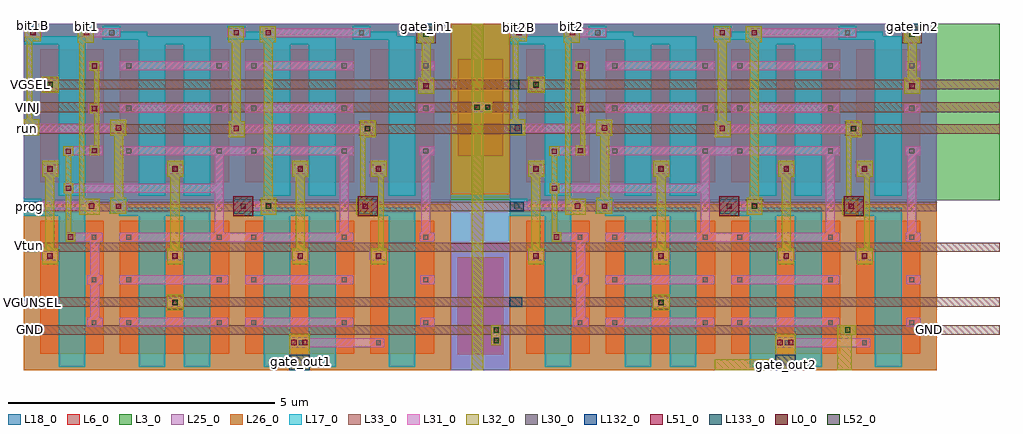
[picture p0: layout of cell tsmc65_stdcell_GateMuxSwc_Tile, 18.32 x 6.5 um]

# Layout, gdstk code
import gdstk
lib = gdstk.Library(unit=1e-6, precision=1e-09)
def R(c, l, rs):  # rectangles x0, y0, x1, y1
    for r in rs: c.add(gdstk.rectangle(r[:2], r[2:], *l))
def A(c, l, x, y, w, h, nx, ny, dx, dy):  # array of equal rectangles
    R(c, l, [(x+i*dx, y+j*dy, x+i*dx+w, y+j*dy+h) for i in range(nx) for j in range(ny)])
L0_0 = (0, 0)
L3_0 = (3, 0)
L6_0 = (6, 0)
L17_0 = (17, 0)
L18_0 = (18, 0)
L25_0 = (25, 0)
L26_0 = (26, 0)
L30_0 = (30, 0)
L31_0 = (31, 0)
L32_0 = (32, 0)
L33_0 = (33, 0)
L51_0 = (51, 0)
L52_0 = (52, 0)
L132_0 = (132, 0)
L133_0 = (133, 0)

m2_m1_cdns_668291677407 = lib.new_cell('M2_M1_CDNS_668291677407')
R(m2_m1_cdns_668291677407, L31_0, [(-0.09,-0.09,0.09,0.09)])
R(m2_m1_cdns_668291677407, L32_0, [(-0.09,-0.09,0.09,0.09)])
R(m2_m1_cdns_668291677407, L51_0, [(-0.05,-0.05,0.05,0.05)])

m2_m1_cdns_668291677401 = lib.new_cell('M2_M1_CDNS_668291677401')
R(m2_m1_cdns_668291677401, L31_0, [(-0.19,-0.09,0.19,0.09)])
R(m2_m1_cdns_668291677401, L32_0, [(-0.19,-0.09,0.19,0.09)])
R(m2_m1_cdns_668291677401, L51_0, [(-0.15,-0.05,-0.05,0.05), (0.05,-0.05,0.15,0.05)])

tsmc65_stdcell_gatemuxsw = lib.new_cell('tsmc65_stdcell_GateMuxSwc')
R(tsmc65_stdcell_gatemuxsw, L0_0, [(3.94,2.89,4.31,3.26), (6.28,2.89,6.65,3.26)])
R(tsmc65_stdcell_gatemuxsw, L3_0, [(0,3.19,8.02,6.5)])
R(tsmc65_stdcell_gatemuxsw, L6_0, [(0.31,0.31,1.51,2.8), (1.81,0.31,3.86,2.8), (4.16,0.31,6.21,2.8), (6.51,0.31,7.71,2.8), (0.31,3.53,1.51,6.02), (1.81,3.53,3.86,6.02), (4.16,3.53,6.21,6.02), (6.51,3.53,7.71,6.02)])
A(tsmc65_stdcell_gatemuxsw, L17_0, 1.62, 3.05, 0.33, 0.16, 3, 1, 2.34, 0)
R(tsmc65_stdcell_gatemuxsw, L17_0, [(0.66,0.06,1.16,2.9), (2.16,0.06,2.66,2.9), (3.01,0.06,3.51,2.9), (4.51,0.06,5.01,2.9), (5.36,0.06,5.86,2.9), (6.86,0.06,7.36,2.9), (0,2.9,1.16,2.95), (1.8,2.9,3.51,2.94), (4.15,2.9,5.86,2.94), (6.5,2.9,7.36,2.94), (1.62,2.94,3.51,3.05), (3.96,2.94,5.86,3.05), (6.3,2.94,7.36,3.05), (0,2.95,1.16,3.05), (0,3.05,0.33,3.22), (0.66,3.27,1.16,6.12), (2.16,3.27,2.66,6.12), (3.01,3.27,3.51,6.12), (4.51,3.27,5.01,6.12), (5.36,3.27,5.86,6.12), (6.86,3.27,7.36,6.12), (0.015,6.12,1.16,6.27), (2.16,6.12,3.51,6.2), (4.51,6.12,5.86,6.2), (6.86,6.12,7.36,6.2), (1.49,6.2,3.51,6.27), (3.83,6.2,5.86,6.27), (6.18,6.2,7.36,6.27), (0.015,6.27,0.345,6.47), (1.49,6.27,2.32,6.35), (3.83,6.27,4.66,6.35), (6.18,6.27,7.01,6.35), (1.49,6.35,1.82,6.47), (3.83,6.35,4.16,6.47), (6.18,6.35,6.51,6.47)])
R(tsmc65_stdcell_gatemuxsw, L18_0, [(0,0,8.02,6.5)])
R(tsmc65_stdcell_gatemuxsw, L25_0, [(0,3.11,8.02,6.5)])
R(tsmc65_stdcell_gatemuxsw, L26_0, [(0,0,8.02,3.11)])
A(tsmc65_stdcell_gatemuxsw, L30_0, 6.62, 0.47, 0.09, 0.09, 1, 3, 0, 1.63)
A(tsmc65_stdcell_gatemuxsw, L30_0, 1.28, 0.85, 0.09, 0.09, 1, 3, 0, 0.8)
A(tsmc65_stdcell_gatemuxsw, L30_0, 1.93, 0.85, 0.09, 0.09, 1, 3, 0, 0.8)
A(tsmc65_stdcell_gatemuxsw, L30_0, 3.63, 0.85, 0.09, 0.09, 1, 3, 0, 0.8)
A(tsmc65_stdcell_gatemuxsw, L30_0, 4.28, 0.85, 0.09, 0.09, 1, 3, 0, 0.8)
A(tsmc65_stdcell_gatemuxsw, L30_0, 5.98, 0.85, 0.09, 0.09, 1, 3, 0, 0.8)
A(tsmc65_stdcell_gatemuxsw, L30_0, 7.505, 0.85, 0.09, 0.09, 1, 3, 0, 0.8)
A(tsmc65_stdcell_gatemuxsw, L30_0, 0.45, 2.1, 0.09, 0.09, 3, 2, 2.35, 1.63)
A(tsmc65_stdcell_gatemuxsw, L30_0, 1.93, 4.07, 0.09, 0.09, 1, 3, 0, 0.8)
A(tsmc65_stdcell_gatemuxsw, L30_0, 3.63, 4.07, 0.09, 0.09, 1, 3, 0, 0.8)
A(tsmc65_stdcell_gatemuxsw, L30_0, 4.28, 4.07, 0.09, 0.09, 1, 3, 0, 0.8)
A(tsmc65_stdcell_gatemuxsw, L30_0, 5.98, 4.07, 0.09, 0.09, 1, 3, 0, 0.8)
A(tsmc65_stdcell_gatemuxsw, L30_0, 7.505, 4.07, 0.09, 0.09, 1, 3, 0, 0.8)
R(tsmc65_stdcell_gatemuxsw, L30_0, [(5.17,0.47,5.26,0.56), (2.8,1.23,2.89,1.32), (1.74,3.03,1.83,3.12), (4.08,3.03,4.17,3.12), (6.37,3.03,6.46,3.12), (0.09,3.04,0.18,3.13), (1.28,4.07,1.37,4.16), (1.28,4.87,1.37,4.96), (7.515,5.29,7.605,5.38), (0.45,5.31,0.54,5.4), (1.29,5.665,1.38,5.755), (0.135,6.29,0.225,6.38), (1.61,6.29,1.7,6.38), (3.95,6.29,4.04,6.38), (6.3,6.29,6.39,6.38)])
A(tsmc65_stdcell_gatemuxsw, L31_0, 0.33, 2.06, 0.33, 0.17, 3, 2, 2.35, 1.63)
R(tsmc65_stdcell_gatemuxsw, L31_0, [(4.99,0.43,6.77,0.6), (1.185,0.81,1.49,0.98), (1.81,0.81,3.84,0.98), (4.16,0.81,6.19,0.98), (7.445,0.81,7.715,0.98), (1.255,0.98,1.425,1.61), (2.68,1.19,3.01,1.36), (1.19,1.61,1.49,1.78), (1.81,1.61,3.84,1.78), (4.16,1.61,6.19,1.78), (7.445,1.61,7.715,1.78), (1.255,1.78,1.425,2.41), (6.5,2.06,6.83,2.23), (0.795,2.41,1.49,2.58), (1.81,2.41,6.19,2.58), (7.44,2.41,7.715,2.58), (3.59,2.58,3.76,3.33), (5.94,2.58,6.11,4.03), (7.465,2.58,7.635,4.03), (1.365,2.99,1.435,3), (1.62,2.99,1.95,3.16), (3.96,2.99,4.68,3.16), (6.3,2.99,6.63,3.16), (0,3,1.435,3.16), (1.365,3.16,1.435,3.17), (0.795,3.33,3.76,3.5), (3.59,3.5,3.76,4.03), (6.5,3.69,6.83,3.86), (0.79,4.03,1.49,4.2), (1.81,4.03,6.19,4.2), (7.43,4.03,7.715,4.2), (1.425,4.2,1.49,4.21), (3.91,4.45,6.555,4.62), (0,4.46,1.875,4.63), (1.22,4.82,1.245,4.83), (1.425,4.82,1.49,4.83), (1.22,4.83,1.49,5), (1.81,4.83,3.84,5), (4.16,4.83,6.19,5), (7.41,4.83,7.715,5), (7.395,5.25,7.725,5.42), (0.33,5.27,0.66,5.44), (1.21,5.62,1.49,5.63), (1.21,5.63,1.49,5.8), (1.81,5.63,3.84,5.8), (4.16,5.63,6.19,5.8), (7.44,5.63,7.725,5.8), (0.015,6.25,0.345,6.42), (1.09,6.25,1.82,6.42), (3.83,6.25,4.16,6.42), (4.51,6.25,6.51,6.42)])
A(tsmc65_stdcell_gatemuxsw, L32_0, 0.35, 1.99, 0.3, 0.3, 3, 2, 2.35, 1.64)
A(tsmc65_stdcell_gatemuxsw, L32_0, 0.41, 2.29, 0.17, 1.34, 3, 1, 2.35, 0)
R(tsmc65_stdcell_gatemuxsw, L32_0, [(4.99,0,5.37,0.68), (2.69,1.12,3.01,1.14), (2.7,1.12,3,1.14), (2.69,1.14,3.01,1.4), (2.69,1.4,3.01,1.42), (2.7,1.4,3,1.42), (6.52,1.99,6.82,2.29), (6.66,2.29,6.76,3.63), (0.795,2.58,0.895,3.33), (1.045,2.92,1.435,3.22), (4.45,2.92,4.75,2.93), (4.47,2.92,4.73,2.93), (6.25,2.92,6.55,3.22), (4.45,2.93,4.75,3.23), (1.63,2.94,1.93,3.24), (1.045,3.22,1.145,6.15), (6.32,3.22,6.42,4.37), (4.45,3.23,4.75,3.24), (4.47,3.23,4.73,3.24), (1.7,3.24,1.87,4.4), (4.51,3.24,4.68,6.16), (0.795,3.5,0.895,4.03), (6.52,3.63,6.82,3.93), (1.325,4.2,1.425,4.83), (3.85,4.37,4.15,4.67), (6.31,4.37,6.61,4.69), (1.63,4.4,1.93,4.7), (0,4.41,0.3,4.71), (3.91,4.67,4.08,6.16), (0.06,4.71,0.16,6.17), (1.325,5,1.425,5.63), (7.415,5.19,7.715,5.49), (0.34,5.21,0.35,5.23), (0.35,5.21,0.65,5.23), (0.65,5.21,0.66,5.23), (0.34,5.23,0.66,5.49), (0.34,5.49,0.66,5.51), (0.35,5.49,0.65,5.51), (7.475,5.49,7.645,6.15), (1.02,6.15,1.32,6.5), (7.405,6.15,7.705,6.17), (3.84,6.16,4.14,6.46), (4.44,6.16,4.74,6.46), (0.025,6.17,0.325,6.5), (7.405,6.17,7.705,6.5)])
R(tsmc65_stdcell_gatemuxsw, L33_0, [(2.69,1.14,3.01,1.19), (0,1.19,8.02,1.37), (2.69,1.36,3.01,1.4), (0,2.98,8.02,3.16), (4.44,3.14,4.76,3.21), (6.3,4.4,6.62,4.44), (0,4.44,8.02,4.62), (6.3,4.61,6.62,4.66), (0.34,5.23,0.66,5.27), (0,5.27,8.02,5.45), (0.34,5.44,0.66,5.49), (7.37,6.14,7.74,6.145), (7.37,6.145,7.74,6.425), (7.37,6.425,7.74,6.44)])
A(tsmc65_stdcell_gatemuxsw, L51_0, 0.445, 2.095, 0.1, 0.1, 3, 2, 2.35, 1.63)
R(tsmc65_stdcell_gatemuxsw, L51_0, [(2.795,1.225,2.895,1.325), (6.615,2.095,6.715,2.195), (1.735,3.025,1.835,3.125), (4.545,3.025,4.645,3.125), (6.365,3.025,6.465,3.125), (6.615,3.725,6.715,3.825), (3.945,4.485,4.045,4.585), (6.415,4.485,6.515,4.585), (0.095,4.495,0.195,4.595), (1.735,4.495,1.835,4.595), (7.51,5.285,7.61,5.385), (0.445,5.305,0.545,5.405), (0.13,6.285,0.23,6.385), (1.135,6.285,1.235,6.385), (3.945,6.285,4.045,6.385), (4.545,6.285,4.645,6.385)])
R(tsmc65_stdcell_gatemuxsw, L52_0, [(2.8,1.22,2.9,1.32), (4.55,3.03,4.65,3.13), (6.41,4.48,6.51,4.58), (0.45,5.31,0.55,5.41), (7.505,6.26,7.605,6.36)])
R(tsmc65_stdcell_gatemuxsw, L132_0, [(4.99,0,5.37,0.285), (1.02,6.38,1.32,6.5), (7.405,6.385,7.705,6.5), (0.025,6.395,0.325,6.5)])
R(tsmc65_stdcell_gatemuxsw, L133_0, [(0,1.19,0.24,1.37), (0,2.98,0.265,3.16), (0,4.44,0.23,4.62), (0,5.27,0.185,5.45)])
tsmc65_stdcell_gatemuxsw.add(gdstk.Reference(m2_m1_cdns_668291677407, (1.335,4.12)))
tsmc65_stdcell_gatemuxsw.add(gdstk.Reference(m2_m1_cdns_668291677407, (1.335,5.71)))
tsmc65_stdcell_gatemuxsw.add(gdstk.Reference(m2_m1_cdns_668291677407, (1.335,4.91)))
tsmc65_stdcell_gatemuxsw.add(gdstk.Reference(m2_m1_cdns_668291677407, (0.84,4.11)))
tsmc65_stdcell_gatemuxsw.add(gdstk.Reference(m2_m1_cdns_668291677407, (0.845,3.415)))
tsmc65_stdcell_gatemuxsw.add(gdstk.Reference(m2_m1_cdns_668291677407, (0.885,2.5)))
tsmc65_stdcell_gatemuxsw.add(gdstk.Reference(m2_m1_cdns_668291677407, (1.275,3.08)))
tsmc65_stdcell_gatemuxsw.add(gdstk.Reference(m2_m1_cdns_668291677401, (5.18,0.52)))
tsmc65_stdcell_gatemuxsw.add(gdstk.Label('Signal_IN', (7.57,6.45), layer=132, texttype=0))
tsmc65_stdcell_gatemuxsw.add(gdstk.Label('Control', (1.185,6.465), layer=132, texttype=0))
tsmc65_stdcell_gatemuxsw.add(gdstk.Label('ControlB', (0.185,6.455), layer=132, texttype=0))
tsmc65_stdcell_gatemuxsw.add(gdstk.Label('Signal_OUT', (5.205,0.165), layer=132, texttype=0))
tsmc65_stdcell_gatemuxsw.add(gdstk.Label('run', (0.08,4.545), layer=133, texttype=0))
tsmc65_stdcell_gatemuxsw.add(gdstk.Label('prog', (0.11,3.075), layer=133, texttype=0))
tsmc65_stdcell_gatemuxsw.add(gdstk.Label('VGSEL', (0.13,5.36), layer=133, texttype=0))
tsmc65_stdcell_gatemuxsw.add(gdstk.Label('VGUNSEL', (0.175,1.275), layer=133, texttype=0))

m3_m2_cdns_668291677400 = lib.new_cell('M3_M2_CDNS_668291677400')
R(m3_m2_cdns_668291677400, L32_0, [(-0.19,-0.09,0.19,0.09)])
R(m3_m2_cdns_668291677400, L33_0, [(-0.19,-0.09,0.19,0.09)])
R(m3_m2_cdns_668291677400, L52_0, [(-0.15,-0.05,-0.05,0.05), (0.05,-0.05,0.15,0.05)])

m1_od_cdns_668291677402 = lib.new_cell('M1_OD_CDNS_668291677402')
R(m1_od_cdns_668291677402, L6_0, [(-0.18,-0.075,0.18,0.075)])
R(m1_od_cdns_668291677402, L30_0, [(-0.15,-0.045,-0.06,0.045), (0.06,-0.045,0.15,0.045)])
R(m1_od_cdns_668291677402, L31_0, [(-0.19,-0.09,0.19,0.09)])

m3_m2_cdns_668291677403 = lib.new_cell('M3_M2_CDNS_668291677403')
R(m3_m2_cdns_668291677403, L32_0, [(-0.09,-0.09,0.09,0.09)])
R(m3_m2_cdns_668291677403, L33_0, [(-0.09,-0.09,0.09,0.09)])
R(m3_m2_cdns_668291677403, L52_0, [(-0.05,-0.05,0.05,0.05)])

m2_m1_cdns_668291677404 = lib.new_cell('M2_M1_CDNS_668291677404')
R(m2_m1_cdns_668291677404, L31_0, [(-0.09,-0.19,0.09,0.19)])
R(m2_m1_cdns_668291677404, L32_0, [(-0.09,-0.19,0.09,0.19)])
R(m2_m1_cdns_668291677404, L51_0, [(-0.05,-0.15,0.05,-0.05), (-0.05,0.05,0.05,0.15)])

m1_od_cdns_668291677405 = lib.new_cell('M1_OD_CDNS_668291677405')
R(m1_od_cdns_668291677405, L6_0, [(-0.075,-0.18,0.075,0.18)])
R(m1_od_cdns_668291677405, L30_0, [(-0.045,-0.15,0.045,-0.06), (-0.045,0.06,0.045,0.15)])
R(m1_od_cdns_668291677405, L31_0, [(-0.09,-0.195,0.09,0.195)])

m3_m2_cdns_668291677406 = lib.new_cell('M3_M2_CDNS_668291677406')
R(m3_m2_cdns_668291677406, L32_0, [(-0.09,-0.19,0.09,0.19)])
R(m3_m2_cdns_668291677406, L33_0, [(-0.09,-0.19,0.09,0.19)])
R(m3_m2_cdns_668291677406, L52_0, [(-0.05,-0.15,0.05,-0.05), (-0.05,0.05,0.05,0.15)])

c_tsmc65_stdcell_gatemuxsw = lib.new_cell('tsmc65_stdcell_GateMuxSwc_Tile')
R(c_tsmc65_stdcell_gatemuxsw, L3_0, [(8.02,3.19,9.125,6.5), (17.145,3.19,18.325,6.5)])
R(c_tsmc65_stdcell_gatemuxsw, L6_0, [(8.15,0.3,9.005,2.115), (8.15,4.025,9.005,5.84)])
R(c_tsmc65_stdcell_gatemuxsw, L18_0, [(8.02,0,9.125,6.5)])
R(c_tsmc65_stdcell_gatemuxsw, L25_0, [(8.02,0,9.125,2.375)])
R(c_tsmc65_stdcell_gatemuxsw, L26_0, [(8.02,3.305,9.125,6.5)])
R(c_tsmc65_stdcell_gatemuxsw, L32_0, [(8.42,0,8.63,6.5), (12.975,0,14.495,0.205), (15.28,0,15.55,0.845), (15.28,0.665,15.635,0.845)])
R(c_tsmc65_stdcell_gatemuxsw, L33_0, [(0,0.665,17.145,0.845), (17.145,0.665,18.325,0.845), (7.995,1.19,9.16,1.37), (17.145,1.19,18.325,1.37), (0,2.225,18.325,2.395), (7.995,2.98,9.16,3.16), (7.995,4.44,9.16,4.62), (17.145,4.44,18.325,4.62), (0,4.845,18.325,5.025), (7.995,5.27,9.16,5.45), (17.145,5.27,18.325,5.45)])
R(c_tsmc65_stdcell_gatemuxsw, L132_0, [(14.115,0.045,14.495,0.14), (4.99,0.08,5.37,0.215), (1.02,6.38,1.32,6.5), (10.145,6.38,10.445,6.5), (7.405,6.385,7.705,6.5), (16.53,6.385,16.83,6.5), (0.025,6.39,0.325,6.5), (9.15,6.395,9.45,6.5)])
R(c_tsmc65_stdcell_gatemuxsw, L133_0, [(0,0.665,0.24,0.845), (17,0.665,17.145,0.845), (0,1.19,0.24,1.37), (0.025,2.225,0.235,2.395), (0,2.98,0.265,3.16), (0,4.44,0.23,4.62), (0,4.845,0.235,5.025), (0,5.27,0.25,5.45)])
c_tsmc65_stdcell_gatemuxsw.add(gdstk.Reference(tsmc65_stdcell_gatemuxsw, (9.125,0)))
c_tsmc65_stdcell_gatemuxsw.add(gdstk.Reference(tsmc65_stdcell_gatemuxsw, (0,0)))
c_tsmc65_stdcell_gatemuxsw.add(gdstk.Reference(m3_m2_cdns_668291677400, (8.615,4.935)))
c_tsmc65_stdcell_gatemuxsw.add(gdstk.Reference(m2_m1_cdns_668291677401, (8.615,4.935)))
c_tsmc65_stdcell_gatemuxsw.add(gdstk.Reference(m1_od_cdns_668291677402, (8.615,4.935)))
c_tsmc65_stdcell_gatemuxsw.add(gdstk.Reference(m3_m2_cdns_668291677403, (15.475,0.755)))
c_tsmc65_stdcell_gatemuxsw.add(gdstk.Reference(m2_m1_cdns_668291677404, (8.875,0.655)))
c_tsmc65_stdcell_gatemuxsw.add(gdstk.Reference(m1_od_cdns_668291677405, (8.875,0.655)))
c_tsmc65_stdcell_gatemuxsw.add(gdstk.Reference(m3_m2_cdns_668291677406, (8.875,0.655)))
c_tsmc65_stdcell_gatemuxsw.add(gdstk.Label('gate_in2', (16.69,6.46), layer=132, texttype=0))
c_tsmc65_stdcell_gatemuxsw.add(gdstk.Label('bit2', (10.295,6.445), layer=132, texttype=0))
c_tsmc65_stdcell_gatemuxsw.add(gdstk.Label('bit2B', (9.29,6.435), layer=132, texttype=0))
c_tsmc65_stdcell_gatemuxsw.add(gdstk.Label('gate_in1', (7.56,6.46), layer=132, texttype=0))
c_tsmc65_stdcell_gatemuxsw.add(gdstk.Label('bit1', (1.185,6.46), layer=132, texttype=0))
c_tsmc65_stdcell_gatemuxsw.add(gdstk.Label('bit1B', (0.175,6.465), layer=132, texttype=0))
c_tsmc65_stdcell_gatemuxsw.add(gdstk.Label('gate_out2', (14.325,0.105), layer=132, texttype=0))
c_tsmc65_stdcell_gatemuxsw.add(gdstk.Label('gate_out1', (5.225,0.16), layer=132, texttype=0))
c_tsmc65_stdcell_gatemuxsw.add(gdstk.Label('GND', (0.125,0.755), layer=133, texttype=0))
c_tsmc65_stdcell_gatemuxsw.add(gdstk.Label('VGUNSEL', (0.175,1.275), layer=133, texttype=0))
c_tsmc65_stdcell_gatemuxsw.add(gdstk.Label('Vtun', (0.11,2.33), layer=133, texttype=0))
c_tsmc65_stdcell_gatemuxsw.add(gdstk.Label('prog', (0.11,3.075), layer=133, texttype=0))
c_tsmc65_stdcell_gatemuxsw.add(gdstk.Label('run', (0.08,4.545), layer=133, texttype=0))
c_tsmc65_stdcell_gatemuxsw.add(gdstk.Label('VINJ', (0.095,4.935), layer=133, texttype=0))
c_tsmc65_stdcell_gatemuxsw.add(gdstk.Label('VGSEL', (0.13,5.36), layer=133, texttype=0))
c_tsmc65_stdcell_gatemuxsw.add(gdstk.Label('GND', (17.02,0.755), layer=133, texttype=0))
c_tsmc65_stdcell_gatemuxsw.add(gdstk.Label('GND', (0.435,0.755), layer=33, texttype=0))
c_tsmc65_stdcell_gatemuxsw.add(gdstk.Label('GND', (17.02,0.755), layer=33, texttype=0))

lib.write_gds('tsmc65_stdcell_GateMuxSwc_Tile.gds')
